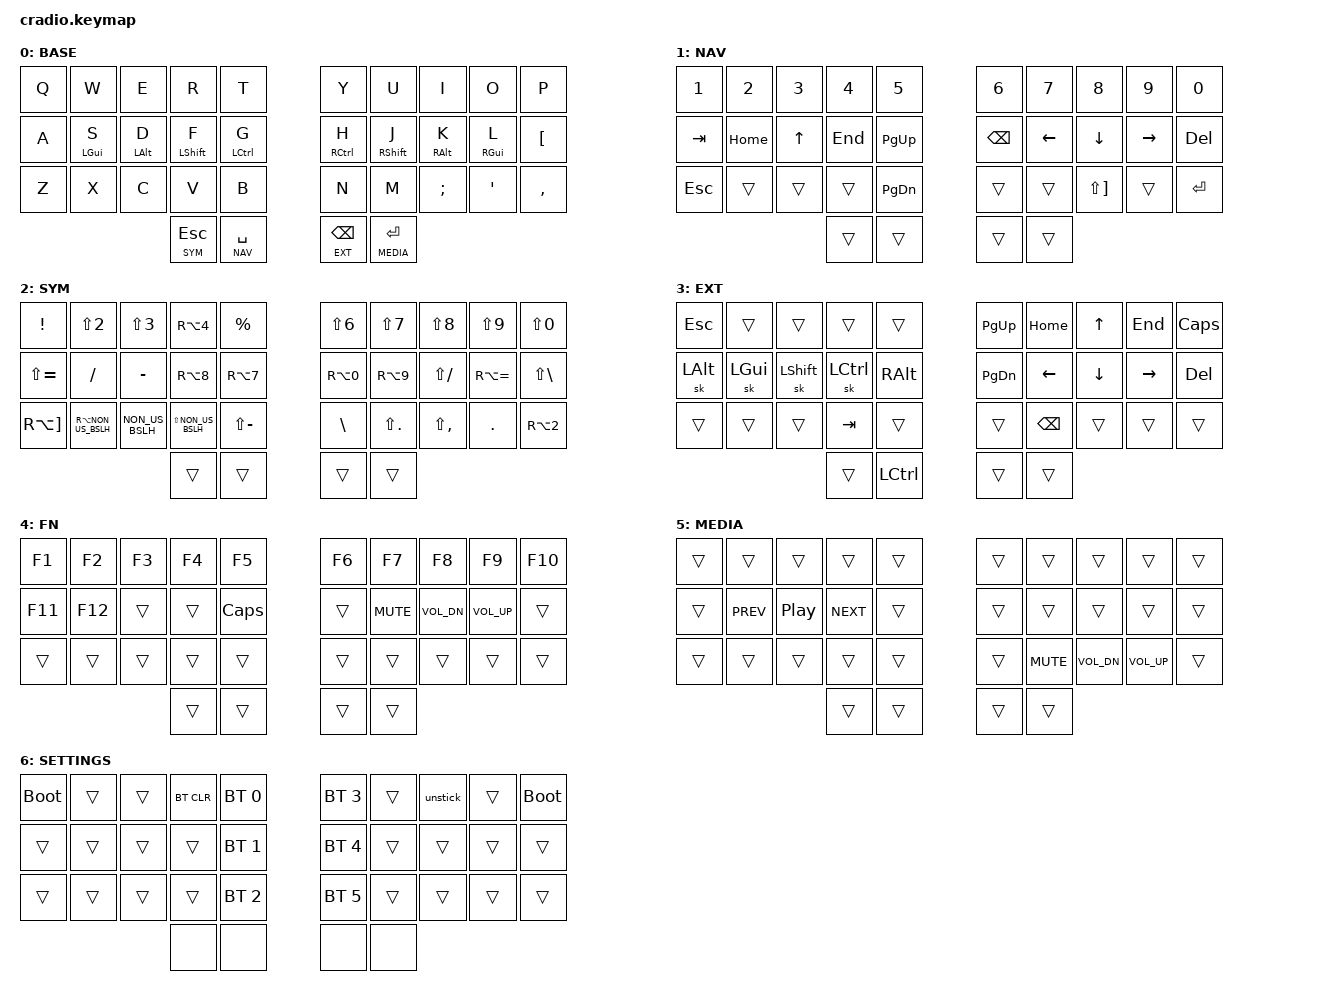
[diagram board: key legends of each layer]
/*
 * datum keymap
 * QWERTY + Danish OS layout
 * ZMK firmware for Nice!nano V2 + Cradio shield
 *
 * Base layer is standard Danish QWERTY with æøå on first layer
 * OS keyboard layout must be set to Danish
 *
 * Danish character keycodes (Danish OS):
 *   å = ]
 *   æ = ;
 *   ø = '
 *
 * Thumb cluster:
 *   esc/SYM  spc/NAV  |  bspc/EXT  ent/MEDIA
 *
 * Combos:
 *   esc+spc = SETTINGS
 *   spc+bspc = FN
 *   bspc+ent = ACCENT (not needed anymore but kept for future use)
 */

#include <behaviors.dtsi>
#include <dt-bindings/zmk/keys.h>
#include <dt-bindings/zmk/bt.h>
#include <dt-bindings/zmk/outputs.h>

#define BASE     0
#define NAV      1
#define SYM      2
#define EXT      3
#define FN       4
#define MEDIA    5
#define SETTINGS 6

&mt {
    tapping-term-ms = <200>;
    flavor = "balanced";
    require-prior-idle-ms = <150>;
};

&lt {
    tapping-term-ms = <200>;
    flavor = "balanced";
    require-prior-idle-ms = <150>;
};

&sk {
    ignore-modifiers;
};

/ {
    behaviors {
        hm: homerow_mods {
            compatible = "zmk,behavior-hold-tap";
            label = "HOMEROW_MODS";
            #binding-cells = <2>;
            tapping-term-ms = <200>;
            quick-tap-ms = <0>;
            flavor = "balanced";
            require-prior-idle-ms = <150>;
            bindings = <&kp>, <&kp>;
        };
    };

    macros {
        unstick: unstick {
            compatible = "zmk,behavior-macro";
            label = "ZM_unstick";
            #binding-cells = <0>;
            bindings = <&kp LSHIFT &kp RSHIFT &kp LCTRL &kp RCTRL &kp LALT &kp RALT &kp LGUI &kp RGUI>;
        };
    };

    combos {
        compatible = "zmk,combos";

        combo_settings {
            timeout-ms = <300>;
            key-positions = <30 31>;
            bindings = <&mo SETTINGS>;
        };

        combo_fn {
            timeout-ms = <200>;
            key-positions = <31 32>;
            bindings = <&mo FN>;
        };
    };

    keymap {
        compatible = "zmk,keymap";

        // BASE — Danish QWERTY
        //
        // q  w  e  r  t  |  y  u  i  o  p
        // a  s  d  f  g  |  h  j  k  l  å
        // z  x  c  v  b  |  n  m  æ  ø  ,
        //       esc spc   |  bspc ent
        //
        // Home row mods:
        //   s=GUI d=ALT f=SHIFT g=CTRL | h=CTRL j=SHIFT k=ALT l=GUI
        base_layer {
            label = "BASE";
            bindings = <
                &kp Q        &kp W        &kp E        &kp R        &kp T         &kp Y        &kp U        &kp I        &kp O        &kp P
                &kp A        &hm LGUI S   &hm LALT D   &hm LSHFT F  &hm LCTRL G   &hm RCTRL H  &hm RSHFT J  &hm RALT K   &hm RGUI L   &kp LBKT
                &kp Z        &kp X        &kp C        &kp V        &kp B         &kp N        &kp M        &kp SEMI     &kp SQT      &kp COMMA
                                                       &lt SYM ESC  &lt NAV SPACE &lt EXT BSPC &lt MEDIA RET
            >;
        };

        // NAV — Navigation + Numbers
        nav_layer {
            label = "NAV";
            bindings = <
                &kp N1   &kp N2    &kp N3   &kp N4   &kp N5        &kp N6    &kp N7    &kp N8     &kp N9     &kp N0
                &kp TAB  &kp HOME  &kp UP   &kp END  &kp PG_UP     &kp BSPC  &kp LEFT  &kp DOWN   &kp RIGHT  &kp DEL
                &kp ESC  &trans    &trans   &trans   &kp PG_DN     &trans    &trans    &kp LS(RBKT)  &trans     &kp RET
                                            &trans   &trans        &trans    &trans
            >;
        };

        // SYM — Symbols
        // Note: some keycodes adjusted for Danish OS layout
        // SYM — Symbols (Danish OS layout)
        // Danish keycodes:
        //   @  = RA(N2)          #  = RA(N3)          $  = RA(N4)
        //   /  = LS(N7)          {  = RA(N7)          [  = RA(N8)
        //   ]  = RA(N9)          }  = RA(N0)          \  = RA(MINUS)
        //   |  = RA(EQUAL)       ~  = RA(RBKT)        <  = NON_US_BSLH
        //   >  = LS(NON_US_BSLH) "  = LS(N2)          ?  = LS(MINUS)
        //   -  = FSLH            _  = LS(FSLH)        +  = MINUS
        //   *  = LS(RBKT)        =  = LS(N0)          `  = LS(EQUAL)
        sym_layer {
            label = "SYM";
            bindings = <
                &kp EXCL            &kp LS(N2)          &kp LS(N3)          &kp RA(N4)          &kp PRCNT               &kp LS(N6)          &kp LS(N7)          &kp LS(N8)          &kp LS(N9)          &kp LS(N0)
                &kp LS(EQUAL)       &kp FSLH            &kp MINUS           &kp RA(N8)          &kp RA(N7)              &kp RA(N0)          &kp RA(N9)          &kp LS(FSLH)        &kp RA(EQUAL)       &kp LS(BSLH)
                &kp RA(RBKT)        &kp RA(NON_US_BSLH) &kp NON_US_BSLH     &kp LS(NON_US_BSLH) &kp LS(MINUS)           &kp BSLH            &kp LS(DOT)         &kp LS(COMMA)       &kp DOT             &kp RA(N2)
                                                                             &trans              &trans                  &trans              &trans
            >;
        };

        // EXT — Extended navigation + modifiers
        ext_layer {
            label = "EXT";
            bindings = <
                &kp ESC   &trans    &trans     &trans     &trans        &kp PG_UP  &kp HOME  &kp UP    &kp END    &kp CAPS
                &sk LALT  &sk LGUI  &sk LSHFT  &sk LCTRL  &kp RALT      &kp PG_DN  &kp LEFT  &kp DOWN  &kp RIGHT  &kp DEL
                &trans    &trans    &trans     &kp TAB    &trans        &trans     &kp BSPC  &trans    &trans     &trans
                                               &trans     &kp LCTRL    &trans     &trans
            >;
        };

        // FN — Function keys (combo: spc+bspc)
        fn_layer {
            label = "FN";
            bindings = <
                &kp F1   &kp F2   &kp F3  &kp F4  &kp F5        &kp F6  &kp F7      &kp F8       &kp F9       &kp F10
                &kp F11  &kp F12  &trans  &trans  &kp CAPS      &trans  &kp C_MUTE  &kp C_VOL_DN &kp C_VOL_UP &trans
                &trans   &trans   &trans  &trans  &trans        &trans  &trans      &trans       &trans       &trans
                                          &trans  &trans        &trans  &trans
            >;
        };

        // MEDIA — Media controls (hold ent)
        media_layer {
            label = "MEDIA";
            bindings = <
                &trans  &trans      &trans    &trans      &trans        &trans  &trans      &trans       &trans       &trans
                &trans  &kp C_PREV  &kp C_PP  &kp C_NEXT  &trans        &trans  &trans      &trans       &trans       &trans
                &trans  &trans      &trans    &trans      &trans        &trans  &kp C_MUTE  &kp C_VOL_DN &kp C_VOL_UP &trans
                                              &trans      &trans        &trans  &trans
            >;
        };

        // SETTINGS — Bluetooth (combo: esc+spc)
        settings_layer {
            label = "SETTINGS";
            bindings = <
                &bootloader  &trans  &trans  &bt BT_CLR  &bt BT_SEL 0        &bt BT_SEL 3  &trans    &unstick  &trans  &bootloader
                &trans       &trans  &trans  &trans      &bt BT_SEL 1        &bt BT_SEL 4  &trans    &trans    &trans  &trans
                &trans       &trans  &trans  &trans      &bt BT_SEL 2        &bt BT_SEL 5  &trans    &trans    &trans  &trans
                                             &none       &none               &none         &none
            >;
        };
    };
};
